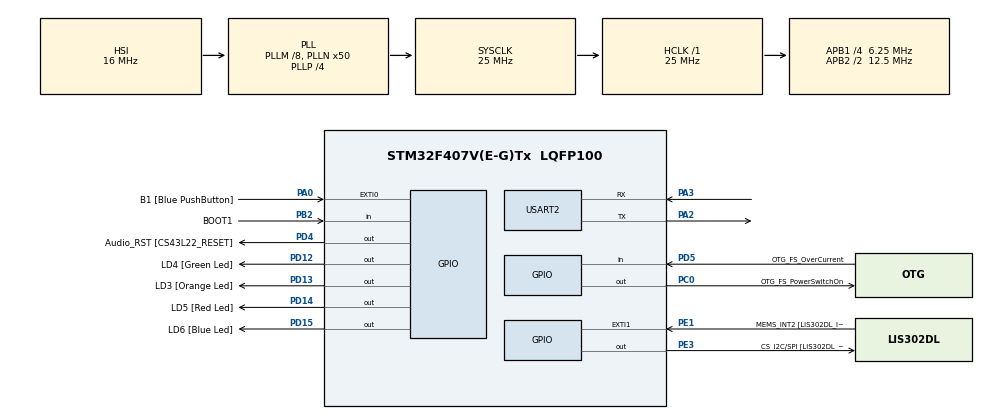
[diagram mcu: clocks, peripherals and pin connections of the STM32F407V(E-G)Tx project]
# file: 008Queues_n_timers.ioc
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Mcu.Family=STM32F4
Mcu.Name=STM32F407V(E-G)Tx
Mcu.Package=LQFP100
NVIC.PriorityGroup=NVIC_PRIORITYGROUP_4
NVIC.TIM6_DAC_IRQn=true\:15\:0\:false\:false\:true\:false\:true\:true
NVIC.TimeBase=TIM6_DAC_IRQn
NVIC.TimeBaseIP=TIM6
NVIC.USART2_IRQn=true\:6\:0\:true\:false\:true\:true\:true\:true
PA0-WKUP.GPIO_Label=B1 [Blue PushButton]
PA0-WKUP.Signal=GPXTI0
PA10.GPIO_Label=OTG_FS_ID
PA10.GPIO_Mode=GPIO_MODE_AF_PP
PA10.GPIO_PuPd=GPIO_NOPULL
PA10.GPIO_Speed=GPIO_SPEED_FREQ_LOW
PA10.Signal=USB_OTG_FS_ID
PA11.GPIO_Label=OTG_FS_DM
PA11.GPIO_Mode=GPIO_MODE_AF_PP
PA11.GPIO_PuPd=GPIO_NOPULL
PA11.GPIO_Speed=GPIO_SPEED_FREQ_LOW
PA11.Signal=USB_OTG_FS_DM
PA12.GPIO_Label=OTG_FS_DP
PA12.GPIO_Mode=GPIO_MODE_AF_PP
PA12.GPIO_PuPd=GPIO_NOPULL
PA12.GPIO_Speed=GPIO_SPEED_FREQ_LOW
PA12.Signal=USB_OTG_FS_DP
PA13.GPIO_Label=SWDIO
PA13.Signal=SYS_JTMS-SWDIO
PA14.GPIO_Label=SWCLK
PA14.Signal=SYS_JTCK-SWCLK
PA2.Mode=Asynchronous
PA2.Signal=USART2_TX
PA3.Mode=Asynchronous
PA3.Signal=USART2_RX
PA4.GPIO_Label=I2S3_WS [CS43L22_LRCK]
PA4.GPIO_Mode=GPIO_MODE_AF_PP
PA4.GPIO_PuPd=GPIO_NOPULL
PA4.GPIO_Speed=GPIO_SPEED_FREQ_LOW
PA4.Signal=I2S3_WS
PA5.GPIO_Label=SPI1_SCK [LIS302DL_SCL/SPC]
PA5.GPIO_Mode=GPIO_MODE_AF_PP
PA5.GPIO_PuPd=GPIO_NOPULL
PA5.GPIO_Speed=GPIO_SPEED_FREQ_LOW
PA5.Signal=SPI1_SCK
PA6.GPIO_Label=SPI1_MISO [LIS302DL_SDO]
PA6.GPIO_Mode=GPIO_MODE_AF_PP
PA6.GPIO_PuPd=GPIO_NOPULL
PA6.GPIO_Speed=GPIO_SPEED_FREQ_LOW
PA6.Signal=SPI1_MISO
PA7.GPIO_Label=SPI1_MOSI [LIS302DL_SDA/SDI/SDO]
PA7.GPIO_Mode=GPIO_MODE_AF_PP
PA7.GPIO_PuPd=GPIO_NOPULL
PA7.GPIO_Speed=GPIO_SPEED_FREQ_LOW
PA7.Signal=SPI1_MOSI
PA9.GPIO_Label=VBUS_FS
PA9.GPIO_Mode=GPIO_MODE_INPUT
PA9.GPIO_PuPd=GPIO_NOPULL
PA9.Signal=USB_OTG_FS_VBUS
PB10.GPIO_Label=CLK_IN [MP45DT02_CLK]
PB10.GPIO_Mode=GPIO_MODE_AF_PP
PB10.GPIO_PuPd=GPIO_NOPULL
PB10.GPIO_Speed=GPIO_SPEED_FREQ_LOW
PB10.Signal=I2S2_CK
PB2.GPIO_Label=BOOT1
PB2.GPIO_Mode=GPIO_MODE_INPUT
PB2.GPIO_PuPd=GPIO_NOPULL
PB2.Signal=GPIO_Input
PB3.GPIO_Label=SWO
PB3.Signal=SYS_JTDO-SWO
PB6.GPIO_Label=Audio_SCL [CS43L22_SCL]
PB6.GPIO_Mode=GPIO_MODE_AF_OD
PB6.GPIO_PuPd=GPIO_NOPULL
PB6.GPIO_Speed=GPIO_SPEED_FREQ_LOW
PB6.Signal=I2C1_SCL
PB9.GPIO_Label=Audio_SDA [CS43L22_SDA]
PB9.GPIO_Mode=GPIO_MODE_AF_OD
PB9.GPIO_PuPd=GPIO_NOPULL
PB9.GPIO_Speed=GPIO_SPEED_FREQ_LOW
PB9.Signal=I2C1_SDA
PC0.GPIO_Label=OTG_FS_PowerSwitchOn
PC0.GPIO_PuPd=GPIO_NOPULL
PC0.GPIO_Speed=GPIO_SPEED_FREQ_LOW
PC0.PinState=GPIO_PIN_SET
PC0.Signal=GPIO_Output
PC10.GPIO_Label=I2S3_SCK [CS43L22_SCLK]
PC10.GPIO_Mode=GPIO_MODE_AF_PP
PC10.GPIO_PuPd=GPIO_NOPULL
PC10.GPIO_Speed=GPIO_SPEED_FREQ_LOW
PC10.Signal=I2S3_CK
PC12.GPIO_Label=I2S3_SD [CS43L22_SDIN]
PC12.GPIO_Mode=GPIO_MODE_AF_PP
PC12.GPIO_PuPd=GPIO_NOPULL
PC12.GPIO_Speed=GPIO_SPEED_FREQ_LOW
PC12.Signal=I2S3_SD
PC14-OSC32_IN.GPIO_Label=PC14-OSC32_IN
PC14-OSC32_IN.Signal=RCC_OSC32_IN
PC15-OSC32_OUT.GPIO_Label=PC15-OSC32_OUT
PC15-OSC32_OUT.Signal=RCC_OSC32_OUT
PC3.GPIO_Label=PDM_OUT [MP45DT02_DOUT]
PC3.GPIO_Mode=GPIO_MODE_AF_PP
PC3.GPIO_PuPd=GPIO_NOPULL
PC3.GPIO_Speed=GPIO_SPEED_FREQ_LOW
PC3.Signal=I2S2_SD
PC7.GPIO_Label=I2S3_MCK [CS43L22_MCLK]
PC7.GPIO_Mode=GPIO_MODE_AF_PP
PC7.GPIO_PuPd=GPIO_NOPULL
PC7.GPIO_Speed=GPIO_SPEED_FREQ_LOW
PC7.Signal=I2S3_MCK
PD12.GPIO_Label=LD4 [Green Led]
PD12.GPIO_PuPd=GPIO_NOPULL
PD12.GPIO_Speed=GPIO_SPEED_FREQ_LOW
PD12.Signal=GPIO_Output
PD13.GPIO_Label=LD3 [Orange Led]
PD13.GPIO_PuPd=GPIO_NOPULL
PD13.GPIO_Speed=GPIO_SPEED_FREQ_LOW
PD13.Signal=GPIO_Output
PD14.GPIO_Label=LD5 [Red Led]
PD14.GPIO_PuPd=GPIO_NOPULL
PD14.GPIO_Speed=GPIO_SPEED_FREQ_LOW
PD14.Signal=GPIO_Output
PD15.GPIO_Label=LD6 [Blue Led]
PD15.GPIO_PuPd=GPIO_NOPULL
PD15.GPIO_Speed=GPIO_SPEED_FREQ_LOW
PD15.Signal=GPIO_Output
PD4.GPIO_Label=Audio_RST [CS43L22_RESET]
PD4.GPIO_PuPd=GPIO_NOPULL
PD4.GPIO_Speed=GPIO_SPEED_FREQ_LOW
PD4.Signal=GPIO_Output
PD5.GPIO_Label=OTG_FS_OverCurrent
PD5.GPIO_Mode=GPIO_MODE_INPUT
PD5.GPIO_PuPd=GPIO_NOPULL
PD5.Signal=GPIO_Input
PE1.GPIO_Label=MEMS_INT2 [LIS302DL_INT2]
PE1.GPIO_ModeDefaultEXTI=GPIO_MODE_EVT_RISING
PE1.GPIO_PuPd=GPIO_NOPULL
PE1.Signal=GPXTI1
PE3.GPIO_Label=CS_I2C/SPI [LIS302DL_CS_I2C/SPI]
PE3.GPIO_PuPd=GPIO_NOPULL
PE3.GPIO_Speed=GPIO_SPEED_FREQ_LOW
PE3.Signal=GPIO_Output
PH0-OSC_IN.GPIO_Label=PH0-OSC_IN
PH0-OSC_IN.Signal=RCC_OSC_IN
PH1-OSC_OUT.GPIO_Label=PH1-OSC_OUT
PH1-OSC_OUT.Signal=RCC_OSC_OUT
ProjectManager.HeapSize=0x200
ProjectManager.StackSize=0x400
ProjectManager.TargetToolchain=STM32CubeIDE
RCC.48MHZClocksFreq_Value=14285714.285714285
RCC.AHBFreq_Value=25000000
RCC.APB1CLKDivider=RCC_HCLK_DIV4
RCC.APB1Freq_Value=6250000
RCC.APB1TimFreq_Value=12500000
RCC.APB2CLKDivider=RCC_HCLK_DIV2
RCC.APB2Freq_Value=12500000
RCC.APB2TimFreq_Value=25000000
RCC.CortexFreq_Value=25000000
RCC.HCLKFreq_Value=25000000
RCC.HSE_VALUE=8000000
RCC.HSI_VALUE=16000000
RCC.LSE_VALUE=32768
RCC.PLLM=8
RCC.PLLN=50
RCC.PLLP=RCC_PLLP_DIV4
RCC.PLLQ=7
RCC.SYSCLKFreq_VALUE=25000000
RCC.SYSCLKSource=RCC_SYSCLKSOURCE_PLLCLK
RCC.VCOOutputFreq_Value=100000000
RTC.HourFormat=RTC_HOURFORMAT_12
USART2.VirtualMode=VM_ASYNC
VP_RTC_VS_RTC_Activate.Mode=RTC_Enabled
VP_SYS_VS_tim6.Mode=TIM6
board=STM32F407G-DISC1

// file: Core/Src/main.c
/* USER CODE BEGIN Header */
/**
  ******************************************************************************
  * @file           : main.c
  * @brief          : Main program body
  ******************************************************************************
  * @attention
  *
  * Copyright (c) 2024 STMicroelectronics.
  * All rights reserved.
  *
  * This software is licensed under terms that can be found in the LICENSE file
  * in the root directory of this software component.
  * If no LICENSE file comes with this software, it is provided AS-IS.
  *
  ******************************************************************************
  */
/* USER CODE END Header */
#include "main.h"

RTC_HandleTypeDef hrtc;

UART_HandleTypeDef huart2;

/* USER CODE BEGIN PV */

TaskHandle_t handle_menu_task;
TaskHandle_t handle_cmd_task;
TaskHandle_t handle_print_task;
TaskHandle_t handle_led_task;
TaskHandle_t handle_rtc_task;

QueueHandle_t q_data;
QueueHandle_t q_print;

TimerHandle_t handle_led_timer[4];
TimerHandle_t rtc_timer;

volatile uint8_t user_data;
state_t curr_state = sMainMenu;

/* USER CODE END PV */

void SystemClock_Config(void);
static void MX_GPIO_Init(void);
static void MX_RTC_Init(void);
static void MX_USART2_UART_Init(void);

/* USER CODE BEGIN PFP */
void led_effect_callback(TimerHandle_t xTimer);
void rtc_report_callback(TimerHandle_t xTimer);

/* USER CODE END PFP */

int main(void)
{
  /* USER CODE BEGIN 1 */
  BaseType_t status;
  /* USER CODE END 1 */

  /* MCU Configuration--------------------------------------------------------*/

  /* Reset of all peripherals, Initializes the Flash interface and the Systick. */
  HAL_Init();

  /* Configure the system clock */
  SystemClock_Config();

  /* Initialize all configured peripherals */
  MX_GPIO_Init();
  MX_RTC_Init();
  MX_USART2_UART_Init();
  /* USER CODE BEGIN 2 */

  //SEGGER_SYSVIEW_Conf();

  status = xTaskCreate(menu_task, "menu_task", 250, NULL, 2, &handle_menu_task);

  configASSERT(status == pdPASS);

  status = xTaskCreate(cmd_handler_task, "cmd_task", 250, NULL, 2, &handle_cmd_task);

  configASSERT(status == pdPASS);

  status = xTaskCreate(print_task, "print_task", 250, NULL, 2, &handle_print_task);

  configASSERT(status == pdPASS);

  status = xTaskCreate(led_task, "led_task", 250, NULL, 2, &handle_led_task);

  configASSERT(status == pdPASS);

  status = xTaskCreate(rtc_task, "rtc_task", 250, NULL, 2, &handle_rtc_task);

  configASSERT(status == pdPASS);

  q_data = xQueueCreate(10, sizeof(char));

  configASSERT(q_data != NULL);

  q_print = xQueueCreate(10, sizeof(size_t));

  configASSERT(q_print != NULL);

  //Create software timers for LED effects
  for (int i = 0; i < 4; i++) {
	  handle_led_timer[i] = xTimerCreate("led_timer", pdMS_TO_TICKS(500), pdTRUE, (void*)(i + 1), led_effect_callback);
  }

  rtc_timer = xTimerCreate ("rtc_report_timer", pdMS_TO_TICKS(1000), pdTRUE, NULL, rtc_report_callback);

  HAL_UART_Receive_IT(&huart2, (uint8_t*)&user_data, 1);

  vTaskStartScheduler();
  /* USER CODE END 2 */

  /* Infinite loop */
  while (1)
  {

  }
}

void SystemClock_Config(void)
{
  RCC_OscInitTypeDef RCC_OscInitStruct = {0};
  RCC_ClkInitTypeDef RCC_ClkInitStruct = {0};

  /** Configure the main internal regulator output voltage
  */
  __HAL_RCC_PWR_CLK_ENABLE();
  __HAL_PWR_VOLTAGESCALING_CONFIG(PWR_REGULATOR_VOLTAGE_SCALE1);

  /** Initializes the RCC Oscillators according to the specified parameters
  * in the RCC_OscInitTypeDef structure.
  */
  RCC_OscInitStruct.OscillatorType = RCC_OSCILLATORTYPE_HSI|RCC_OSCILLATORTYPE_LSI;
  RCC_OscInitStruct.HSIState = RCC_HSI_ON;
  RCC_OscInitStruct.HSICalibrationValue = RCC_HSICALIBRATION_DEFAULT;
  RCC_OscInitStruct.LSIState = RCC_LSI_ON;
  RCC_OscInitStruct.PLL.PLLState = RCC_PLL_ON;
  RCC_OscInitStruct.PLL.PLLSource = RCC_PLLSOURCE_HSI;
  RCC_OscInitStruct.PLL.PLLM = 8;
  RCC_OscInitStruct.PLL.PLLN = 50;
  RCC_OscInitStruct.PLL.PLLP = RCC_PLLP_DIV4;
  RCC_OscInitStruct.PLL.PLLQ = 7;
  if (HAL_RCC_OscConfig(&RCC_OscInitStruct) != HAL_OK)
  {
    Error_Handler();
  }

  /** Initializes the CPU, AHB and APB buses clocks
  */
  RCC_ClkInitStruct.ClockType = RCC_CLOCKTYPE_HCLK|RCC_CLOCKTYPE_SYSCLK
                              |RCC_CLOCKTYPE_PCLK1|RCC_CLOCKTYPE_PCLK2;
  RCC_ClkInitStruct.SYSCLKSource = RCC_SYSCLKSOURCE_PLLCLK;
  RCC_ClkInitStruct.AHBCLKDivider = RCC_SYSCLK_DIV1;
  RCC_ClkInitStruct.APB1CLKDivider = RCC_HCLK_DIV4;
  RCC_ClkInitStruct.APB2CLKDivider = RCC_HCLK_DIV2;

  if (HAL_RCC_ClockConfig(&RCC_ClkInitStruct, FLASH_LATENCY_0) != HAL_OK)
  {
    Error_Handler();
  }
}

static void MX_RTC_Init(void)
{

  /** Initialize RTC Only
  */
  hrtc.Instance = RTC;
  hrtc.Init.HourFormat = RTC_HOURFORMAT_12;
  hrtc.Init.AsynchPrediv = 127;
  hrtc.Init.SynchPrediv = 255;
  hrtc.Init.OutPut = RTC_OUTPUT_DISABLE;
  hrtc.Init.OutPutPolarity = RTC_OUTPUT_POLARITY_HIGH;
  hrtc.Init.OutPutType = RTC_OUTPUT_TYPE_OPENDRAIN;
  if (HAL_RTC_Init(&hrtc) != HAL_OK)
  {
    Error_Handler();
  }

}

static void MX_USART2_UART_Init(void)
{

  huart2.Instance = USART2;
  huart2.Init.BaudRate = 115200;
  huart2.Init.WordLength = UART_WORDLENGTH_8B;
  huart2.Init.StopBits = UART_STOPBITS_1;
  huart2.Init.Parity = UART_PARITY_NONE;
  huart2.Init.Mode = UART_MODE_TX_RX;
  huart2.Init.HwFlowCtl = UART_HWCONTROL_NONE;
  huart2.Init.OverSampling = UART_OVERSAMPLING_16;
  if (HAL_UART_Init(&huart2) != HAL_OK)
  {
    Error_Handler();
  }

}

static void MX_GPIO_Init(void)
{
  GPIO_InitTypeDef GPIO_InitStruct = {0};

  /* GPIO Ports Clock Enable */
  __HAL_RCC_GPIOE_CLK_ENABLE();
  __HAL_RCC_GPIOC_CLK_ENABLE();
  __HAL_RCC_GPIOH_CLK_ENABLE();
  __HAL_RCC_GPIOA_CLK_ENABLE();
  __HAL_RCC_GPIOB_CLK_ENABLE();
  __HAL_RCC_GPIOD_CLK_ENABLE();

  /*Configure GPIO pin Output Level */
  HAL_GPIO_WritePin(CS_I2C_SPI_GPIO_Port, CS_I2C_SPI_Pin, GPIO_PIN_RESET);

  /*Configure GPIO pin Output Level */
  HAL_GPIO_WritePin(OTG_FS_PowerSwitchOn_GPIO_Port, OTG_FS_PowerSwitchOn_Pin, GPIO_PIN_SET);

  /*Configure GPIO pin Output Level */
  HAL_GPIO_WritePin(GPIOD, LD4_Pin|LD3_Pin|LD5_Pin|LD6_Pin
                          |Audio_RST_Pin, GPIO_PIN_RESET);

  /*Configure GPIO pin : CS_I2C_SPI_Pin */
  GPIO_InitStruct.Pin = CS_I2C_SPI_Pin;
  GPIO_InitStruct.Mode = GPIO_MODE_OUTPUT_PP;
  GPIO_InitStruct.Pull = GPIO_NOPULL;
  GPIO_InitStruct.Speed = GPIO_SPEED_FREQ_LOW;
  HAL_GPIO_Init(CS_I2C_SPI_GPIO_Port, &GPIO_InitStruct);

  /*Configure GPIO pin : OTG_FS_PowerSwitchOn_Pin */
  GPIO_InitStruct.Pin = OTG_FS_PowerSwitchOn_Pin;
  GPIO_InitStruct.Mode = GPIO_MODE_OUTPUT_PP;
  GPIO_InitStruct.Pull = GPIO_NOPULL;
  GPIO_InitStruct.Speed = GPIO_SPEED_FREQ_LOW;
  HAL_GPIO_Init(OTG_FS_PowerSwitchOn_GPIO_Port, &GPIO_InitStruct);

  /*Configure GPIO pin : PDM_OUT_Pin */
  GPIO_InitStruct.Pin = PDM_OUT_Pin;
  GPIO_InitStruct.Mode = GPIO_MODE_AF_PP;
  GPIO_InitStruct.Pull = GPIO_NOPULL;
  GPIO_InitStruct.Speed = GPIO_SPEED_FREQ_LOW;
  GPIO_InitStruct.Alternate = GPIO_AF5_SPI2;
  HAL_GPIO_Init(PDM_OUT_GPIO_Port, &GPIO_InitStruct);

  /*Configure GPIO pin : B1_Pin */
  GPIO_InitStruct.Pin = B1_Pin;
  GPIO_InitStruct.Mode = GPIO_MODE_IT_RISING;
  GPIO_InitStruct.Pull = GPIO_NOPULL;
  HAL_GPIO_Init(B1_GPIO_Port, &GPIO_InitStruct);

  /*Configure GPIO pin : I2S3_WS_Pin */
  GPIO_InitStruct.Pin = I2S3_WS_Pin;
  GPIO_InitStruct.Mode = GPIO_MODE_AF_PP;
  GPIO_InitStruct.Pull = GPIO_NOPULL;
  GPIO_InitStruct.Speed = GPIO_SPEED_FREQ_LOW;
  GPIO_InitStruct.Alternate = GPIO_AF6_SPI3;
  HAL_GPIO_Init(I2S3_WS_GPIO_Port, &GPIO_InitStruct);

  /*Configure GPIO pins : SPI1_SCK_Pin SPI1_MISO_Pin SPI1_MOSI_Pin */
  GPIO_InitStruct.Pin = SPI1_SCK_Pin|SPI1_MISO_Pin|SPI1_MOSI_Pin;
  GPIO_InitStruct.Mode = GPIO_MODE_AF_PP;
  GPIO_InitStruct.Pull = GPIO_NOPULL;
  GPIO_InitStruct.Speed = GPIO_SPEED_FREQ_LOW;
  GPIO_InitStruct.Alternate = GPIO_AF5_SPI1;
  HAL_GPIO_Init(GPIOA, &GPIO_InitStruct);

  /*Configure GPIO pin : BOOT1_Pin */
  GPIO_InitStruct.Pin = BOOT1_Pin;
  GPIO_InitStruct.Mode = GPIO_MODE_INPUT;
  GPIO_InitStruct.Pull = GPIO_NOPULL;
  HAL_GPIO_Init(BOOT1_GPIO_Port, &GPIO_InitStruct);

  /*Configure GPIO pin : CLK_IN_Pin */
  GPIO_InitStruct.Pin = CLK_IN_Pin;
  GPIO_InitStruct.Mode = GPIO_MODE_AF_PP;
  GPIO_InitStruct.Pull = GPIO_NOPULL;
  GPIO_InitStruct.Speed = GPIO_SPEED_FREQ_LOW;
  GPIO_InitStruct.Alternate = GPIO_AF5_SPI2;
  HAL_GPIO_Init(CLK_IN_GPIO_Port, &GPIO_InitStruct);

  /*Configure GPIO pins : LD4_Pin LD3_Pin LD5_Pin LD6_Pin
                           Audio_RST_Pin */
  GPIO_InitStruct.Pin = LD4_Pin|LD3_Pin|LD5_Pin|LD6_Pin
                          |Audio_RST_Pin;
  GPIO_InitStruct.Mode = GPIO_MODE_OUTPUT_PP;
  GPIO_InitStruct.Pull = GPIO_NOPULL;
  GPIO_InitStruct.Speed = GPIO_SPEED_FREQ_LOW;
  HAL_GPIO_Init(GPIOD, &GPIO_InitStruct);

  /*Configure GPIO pins : I2S3_MCK_Pin I2S3_SCK_Pin I2S3_SD_Pin */
  GPIO_InitStruct.Pin = I2S3_MCK_Pin|I2S3_SCK_Pin|I2S3_SD_Pin;
  GPIO_InitStruct.Mode = GPIO_MODE_AF_PP;
  GPIO_InitStruct.Pull = GPIO_NOPULL;
  GPIO_InitStruct.Speed = GPIO_SPEED_FREQ_LOW;
  GPIO_InitStruct.Alternate = GPIO_AF6_SPI3;
  HAL_GPIO_Init(GPIOC, &GPIO_InitStruct);

  /*Configure GPIO pin : VBUS_FS_Pin */
  GPIO_InitStruct.Pin = VBUS_FS_Pin;
  GPIO_InitStruct.Mode = GPIO_MODE_INPUT;
  GPIO_InitStruct.Pull = GPIO_NOPULL;
  HAL_GPIO_Init(VBUS_FS_GPIO_Port, &GPIO_InitStruct);

  /*Configure GPIO pins : OTG_FS_ID_Pin OTG_FS_DM_Pin OTG_FS_DP_Pin */
  GPIO_InitStruct.Pin = OTG_FS_ID_Pin|OTG_FS_DM_Pin|OTG_FS_DP_Pin;
  GPIO_InitStruct.Mode = GPIO_MODE_AF_PP;
  GPIO_InitStruct.Pull = GPIO_NOPULL;
  GPIO_InitStruct.Speed = GPIO_SPEED_FREQ_LOW;
  GPIO_InitStruct.Alternate = GPIO_AF10_OTG_FS;
  HAL_GPIO_Init(GPIOA, &GPIO_InitStruct);

  /*Configure GPIO pin : OTG_FS_OverCurrent_Pin */
  GPIO_InitStruct.Pin = OTG_FS_OverCurrent_Pin;
  GPIO_InitStruct.Mode = GPIO_MODE_INPUT;
  GPIO_InitStruct.Pull = GPIO_NOPULL;
  HAL_GPIO_Init(OTG_FS_OverCurrent_GPIO_Port, &GPIO_InitStruct);

  /*Configure GPIO pins : Audio_SCL_Pin Audio_SDA_Pin */
  GPIO_InitStruct.Pin = Audio_SCL_Pin|Audio_SDA_Pin;
  GPIO_InitStruct.Mode = GPIO_MODE_AF_OD;
  GPIO_InitStruct.Pull = GPIO_NOPULL;
  GPIO_InitStruct.Speed = GPIO_SPEED_FREQ_LOW;
  GPIO_InitStruct.Alternate = GPIO_AF4_I2C1;
  HAL_GPIO_Init(GPIOB, &GPIO_InitStruct);

  /*Configure GPIO pin : MEMS_INT2_Pin */
  GPIO_InitStruct.Pin = MEMS_INT2_Pin;
  GPIO_InitStruct.Mode = GPIO_MODE_EVT_RISING;
  GPIO_InitStruct.Pull = GPIO_NOPULL;
  HAL_GPIO_Init(MEMS_INT2_GPIO_Port, &GPIO_InitStruct);

}

/* USER CODE BEGIN 4 */

void rtc_report_callback(TimerHandle_t xTimer)
{
	show_time_date_itm();

}

void led_effect_callback(TimerHandle_t xTimer)
{
	uint32_t id;

	id = (uint32_t) pvTimerGetTimerID(xTimer);

	switch (id)
	{
		case 1:
			LED_effect1();
			break;
		case 2:
			LED_effect2();
			break;
		case 3:
			LED_effect3();
			break;
		case 4:
			LED_effect4();
			break;
	}
}

void HAL_UART_RxCpltCallback(UART_HandleTypeDef *huart)
{
	uint8_t dummy;

	if (xQueueIsQueueFullFromISR(q_data) == pdFALSE) {
		/*Queue is not full */

		xQueueSendFromISR(q_data, (void*)&user_data, NULL);

	} else {
		/*Queue is full */

		if (user_data == '\n') {
			/*user_data = '\n' */

			/*make sure that last data byte of the queue is '\n' */
			xQueueReceiveFromISR(q_data, (void*)&dummy, NULL);
			xQueueSendFromISR(q_data, (void*)&user_data, NULL);
		}
	}

	/*send notification to command handling task if user_data = '\n' */
	if (user_data == '\n') {
		xTaskNotifyFromISR(handle_cmd_task, 0, eNoAction, NULL);
	}

	/*Enable UART data byte reception again in IT mode */
	HAL_UART_Receive_IT(&huart2, (uint8_t*)&user_data, 1);
}

/* USER CODE END 4 */

void HAL_TIM_PeriodElapsedCallback(TIM_HandleTypeDef *htim)
{
  if (htim->Instance == TIM6) {
    HAL_IncTick();
  }
}

void Error_Handler(void)
{
  __disable_irq();
  while (1)
  {
  }
}
